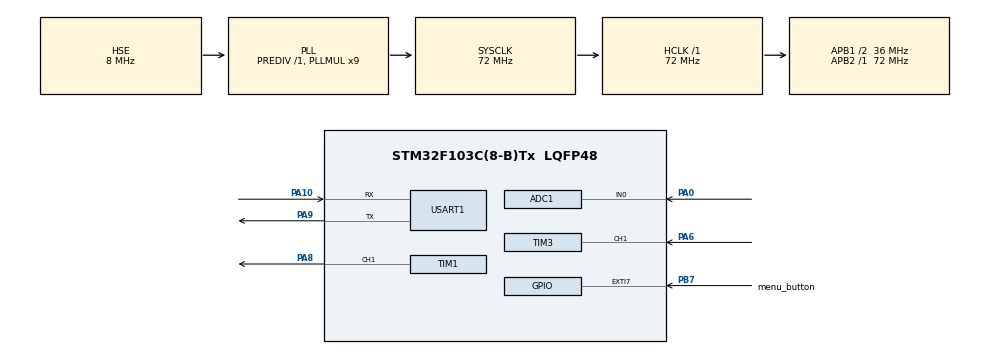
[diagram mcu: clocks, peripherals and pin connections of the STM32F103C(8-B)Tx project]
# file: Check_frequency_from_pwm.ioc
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ADC1.Channel-0\#ChannelRegularConversion=ADC_CHANNEL_0
ADC1.ContinuousConvMode=ENABLE
ADC1.NbrOfConversionFlag=1
ADC1.Rank-0\#ChannelRegularConversion=1
ADC1.SamplingTime-0\#ChannelRegularConversion=ADC_SAMPLETIME_1CYCLE_5
ADC1.master=1
Dma.ADC1.0.Direction=DMA_PERIPH_TO_MEMORY
Dma.ADC1.0.Instance=DMA1_Channel1
Dma.ADC1.0.MemDataAlignment=DMA_MDATAALIGN_HALFWORD
Dma.ADC1.0.MemInc=DMA_MINC_ENABLE
Dma.ADC1.0.Mode=DMA_CIRCULAR
Dma.ADC1.0.PeriphDataAlignment=DMA_PDATAALIGN_HALFWORD
Dma.ADC1.0.PeriphInc=DMA_PINC_DISABLE
Dma.ADC1.0.Priority=DMA_PRIORITY_LOW
Dma.Request0=ADC1
Dma.Request1=TIM1_CH1
Dma.TIM1_CH1.1.Direction=DMA_MEMORY_TO_PERIPH
Dma.TIM1_CH1.1.Instance=DMA1_Channel2
Dma.TIM1_CH1.1.MemDataAlignment=DMA_MDATAALIGN_HALFWORD
Dma.TIM1_CH1.1.MemInc=DMA_MINC_ENABLE
Dma.TIM1_CH1.1.Mode=DMA_CIRCULAR
Dma.TIM1_CH1.1.PeriphDataAlignment=DMA_PDATAALIGN_HALFWORD
Dma.TIM1_CH1.1.PeriphInc=DMA_PINC_DISABLE
Dma.TIM1_CH1.1.Priority=DMA_PRIORITY_LOW
FREERTOS.Tasks01=defaultTask,0,256,StartDefaultTask,Default,NULL,Static,defaultTaskBuffer,defaultTaskControlBlock;my_PWM_Task,0,256,Start_PWM_Task,Default,NULL,Static,my_PWM_TaskBuffer,my_PWM_TaskControlBlock;my_ADC_Task,0,256,Start_ADC_Task,Default,NULL,Static,my_ADC_TaskBuffer,my_ADC_TaskControlBlock
FREERTOS.configUSE_NEWLIB_REENTRANT=1
Mcu.Family=STM32F1
Mcu.Name=STM32F103C(8-B)Tx
Mcu.Package=LQFP48
NVIC.DMA1_Channel1_IRQn=true\:5\:0\:false\:false\:true\:true\:false\:true\:true
NVIC.DMA1_Channel2_IRQn=true\:5\:0\:false\:false\:true\:true\:false\:true\:true
NVIC.EXTI9_5_IRQn=true\:5\:0\:false\:false\:true\:true\:true\:true\:true
NVIC.PriorityGroup=NVIC_PRIORITYGROUP_4
NVIC.TIM3_IRQn=true\:5\:0\:false\:false\:true\:true\:true\:true\:true
NVIC.TIM4_IRQn=true\:15\:0\:false\:false\:true\:false\:false\:true\:true
NVIC.TimeBase=TIM4_IRQn
NVIC.TimeBaseIP=TIM4
PA0-WKUP.Signal=ADCx_IN0
PA10.Mode=Asynchronous
PA10.Signal=USART1_RX
PA13.Mode=Serial_Wire
PA13.Signal=SYS_JTMS-SWDIO
PA14.Mode=Serial_Wire
PA14.Signal=SYS_JTCK-SWCLK
PA6.Signal=S_TIM3_CH1
PA8.Signal=S_TIM1_CH1
PA9.Mode=Asynchronous
PA9.Signal=USART1_TX
PB7.GPIO_Label=menu_button
PB7.GPIO_ModeDefaultEXTI=GPIO_MODE_IT_FALLING
PB7.GPIO_PuPd=GPIO_PULLUP
PB7.Signal=GPXTI7
PD0-OSC_IN.Mode=HSE-External-Oscillator
PD0-OSC_IN.Signal=RCC_OSC_IN
PD1-OSC_OUT.Mode=HSE-External-Oscillator
PD1-OSC_OUT.Signal=RCC_OSC_OUT
ProjectManager.HeapSize=0x200
ProjectManager.StackSize=0x400
ProjectManager.TargetToolchain=STM32CubeIDE
RCC.ADCPresc=RCC_ADCPCLK2_DIV6
RCC.AHBFreq_Value=72000000
RCC.APB1CLKDivider=RCC_HCLK_DIV2
RCC.APB1Freq_Value=36000000
RCC.APB1TimFreq_Value=72000000
RCC.APB2Freq_Value=72000000
RCC.APB2TimFreq_Value=72000000
RCC.HCLKFreq_Value=72000000
RCC.PLLMUL=RCC_PLL_MUL9
RCC.PLLSourceVirtual=RCC_PLLSOURCE_HSE
RCC.SYSCLKFreq_VALUE=72000000
RCC.SYSCLKSource=RCC_SYSCLKSOURCE_PLLCLK
RCC.USBFreq_Value=72000000
SH.ADCx_IN0.0=ADC1_IN0,IN0
SH.S_TIM1_CH1.0=TIM1_CH1,PWM Generation1 CH1
SH.S_TIM3_CH1.0=TIM3_CH1,Input_Capture1_from_TI1
TIM1.Channel-PWM\ Generation1\ CH1=TIM_CHANNEL_1
TIM1.Period=100-1
TIM1.Prescaler=71-1
TIM3.Channel-Input_Capture1_from_TI1=TIM_CHANNEL_1
TIM3.Prescaler=7199
TIM3.TIM_MasterOutputTrigger=TIM_TRGO_UPDATE
USART1.VirtualMode=VM_ASYNC
VP_FREERTOS_VS_CMSIS_V1.Mode=CMSIS_V1
VP_SYS_VS_tim4.Mode=TIM4
VP_TIM1_VS_ClockSourceINT.Mode=Internal
VP_TIM2_VS_ClockSourceITR.Mode=TriggerSource_ITR2
VP_TIM2_VS_ControllerModeClock.Mode=Clock Mode
board=custom

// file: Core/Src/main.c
/* USER CODE BEGIN Header */
/**
 ******************************************************************************
 * @file           : main.c
 * @brief          : Main program body
 ******************************************************************************
 * @attention
 *
 * Copyright (c) 2023 STMicroelectronics.
 * All rights reserved.
 *
 * This software is licensed under terms that can be found in the LICENSE file
 * in the root directory of this software component.
 * If no LICENSE file comes with this software, it is provided AS-IS.
 *
 ******************************************************************************
 */
/* USER CODE END Header */
#include "main.h"
#include "cmsis_os.h"

/* USER CODE BEGIN Includes */
#include <stdio.h>/* для printf */
#include <string.h>
/************** PWM *******************/
uint16_t pwmData[1];
/************** ADC *******************/
#define ADC_BUF_LED 100 //4096
uint16_t adc_buf[ADC_BUF_LED];

/************** Tahometr *******************/
volatile uint8_t count = 0;
/* USER CODE END Includes */

ADC_HandleTypeDef hadc1;
DMA_HandleTypeDef hdma_adc1;

TIM_HandleTypeDef htim1;
TIM_HandleTypeDef htim2;
TIM_HandleTypeDef htim3;
DMA_HandleTypeDef hdma_tim1_ch1;

UART_HandleTypeDef huart1;

osThreadId defaultTaskHandle;
uint32_t defaultTaskBuffer[ 256 ];
osStaticThreadDef_t defaultTaskControlBlock;
osThreadId my_PWM_TaskHandle;
uint32_t my_PWM_TaskBuffer[ 256 ];
osStaticThreadDef_t my_PWM_TaskControlBlock;
osThreadId my_ADC_TaskHandle;
uint32_t my_ADC_TaskBuffer[ 256 ];
osStaticThreadDef_t my_ADC_TaskControlBlock;

void SystemClock_Config(void);
static void MX_GPIO_Init(void);
static void MX_DMA_Init(void);
static void MX_ADC1_Init(void);
static void MX_TIM1_Init(void);
static void MX_TIM2_Init(void);
static void MX_TIM3_Init(void);
static void MX_USART1_UART_Init(void);
void StartDefaultTask(void const * argument);
void Start_PWM_Task(void const * argument);
void Start_ADC_Task(void const * argument);

/* USER CODE BEGIN PFP */
int _write(int file, char *ptr, int len) {
	int i;
	HAL_UART_Transmit(&huart1, (uint8_t*) ptr, len, 50);
	for (i = 0; i < len; i++) {
		ITM_SendChar(*ptr++);
	}
	return len;
}
/* USER CODE END PFP */

/* USER CODE BEGIN 0 */
/************** Медианный фильтр *******************/
float median(float newVal) {
	static float buf[3];
	static int count = 0;
	buf[count] = newVal;
	if (++count > 2)
		count = 0;

	float a = buf[0];
	float b = buf[1];
	float c = buf[2];

	float middle;
	if ((a <= b) && (a <= c)) {
		middle = (b <= c) ? b : c;
	} else {
		if ((b <= a) && (b <= c)) {
			middle = (a <= c) ? a : c;
		} else {
			middle = (a <= b) ? a : b;
		}
	}
	return middle;
}

void HAL_TIM_IC_CaptureCallback(TIM_HandleTypeDef *htim) {
	if (htim == &htim3) {
		if (htim->Channel == HAL_TIM_ACTIVE_CHANNEL_1) {
			count++;

			if (count == 1) {
				__HAL_TIM_SET_COUNTER(&htim3, 0x0000);
				__HAL_TIM_SET_COUNTER(&htim2, 0x0000);
			}

			else if (count == 2) {
				HAL_TIM_IC_Stop_IT(&htim3, TIM_CHANNEL_1);

				count = 0;

				uint16_t count_main = HAL_TIM_ReadCapturedValue(&htim3,
						TIM_CHANNEL_1);
				uint16_t count_secondary = __HAL_TIM_GET_COUNTER(&htim2);
				uint16_t arr = __HAL_TIM_GET_AUTORELOAD(&htim2);
				uint32_t res = count_main + (count_secondary * arr)
						+ count_secondary;

				float freq = 1 / (res / 1000000.0);

				char str[96] = { 0, };
				//snprintf(str, 96, "Capture Freq: %.3f Hz | res: %lu | cm: %d | cs: %d\n", (float)freq, res, count_main, count_secondary);
				freq = median(freq);

				snprintf(str, 96, "Capture Freq: %.3f Hz\n", (float) freq);
				HAL_UART_Transmit(&huart1, (uint8_t*) str, strlen(str), 1000);

				HAL_TIM_IC_Start_IT(&htim3, TIM_CHANNEL_1);
			}
		}
	}
}
/************** Button *******************/
MenuButton_t hMenuButton;
/* USER CODE END 0 */

int main(void)
{
  /* USER CODE BEGIN 1 */
	/************** Button *******************/
	hMenuButton.buttonFlag.data = RESET; //Flag reset
  /* USER CODE END 1 */

  /* MCU Configuration--------------------------------------------------------*/

  /* Reset of all peripherals, Initializes the Flash interface and the Systick. */
  HAL_Init();

  /* Configure the system clock */
  SystemClock_Config();

  /* Initialize all configured peripherals */
  MX_GPIO_Init();
  MX_DMA_Init();
  MX_ADC1_Init();
  MX_TIM1_Init();
  MX_TIM2_Init();
  MX_TIM3_Init();
  MX_USART1_UART_Init();

  /* Create the thread(s) */
  /* definition and creation of defaultTask */
  osThreadStaticDef(defaultTask, StartDefaultTask, osPriorityNormal, 0, 256, defaultTaskBuffer, &defaultTaskControlBlock);
  defaultTaskHandle = osThreadCreate(osThread(defaultTask), NULL);

  /* definition and creation of my_PWM_Task */
  osThreadStaticDef(my_PWM_Task, Start_PWM_Task, osPriorityNormal, 0, 256, my_PWM_TaskBuffer, &my_PWM_TaskControlBlock);
  my_PWM_TaskHandle = osThreadCreate(osThread(my_PWM_Task), NULL);

  /* definition and creation of my_ADC_Task */
  osThreadStaticDef(my_ADC_Task, Start_ADC_Task, osPriorityNormal, 0, 256, my_ADC_TaskBuffer, &my_ADC_TaskControlBlock);
  my_ADC_TaskHandle = osThreadCreate(osThread(my_ADC_Task), NULL);

  /* USER CODE BEGIN RTOS_THREADS */
	/* add threads, ... */
	printf("Hello world! \r\n");
  /* USER CODE END RTOS_THREADS */

  /* Start scheduler */
  osKernelStart();
  /* We should never get here as control is now taken by the scheduler */
  /* Infinite loop */
	while (1) {

	}
}

void SystemClock_Config(void)
{
  RCC_OscInitTypeDef RCC_OscInitStruct = {0};
  RCC_ClkInitTypeDef RCC_ClkInitStruct = {0};
  RCC_PeriphCLKInitTypeDef PeriphClkInit = {0};

  /** Initializes the RCC Oscillators according to the specified parameters
  * in the RCC_OscInitTypeDef structure.
  */
  RCC_OscInitStruct.OscillatorType = RCC_OSCILLATORTYPE_HSE;
  RCC_OscInitStruct.HSEState = RCC_HSE_ON;
  RCC_OscInitStruct.HSEPredivValue = RCC_HSE_PREDIV_DIV1;
  RCC_OscInitStruct.HSIState = RCC_HSI_ON;
  RCC_OscInitStruct.PLL.PLLState = RCC_PLL_ON;
  RCC_OscInitStruct.PLL.PLLSource = RCC_PLLSOURCE_HSE;
  RCC_OscInitStruct.PLL.PLLMUL = RCC_PLL_MUL9;
  if (HAL_RCC_OscConfig(&RCC_OscInitStruct) != HAL_OK)
  {
    Error_Handler();
  }

  /** Initializes the CPU, AHB and APB buses clocks
  */
  RCC_ClkInitStruct.ClockType = RCC_CLOCKTYPE_HCLK|RCC_CLOCKTYPE_SYSCLK
                              |RCC_CLOCKTYPE_PCLK1|RCC_CLOCKTYPE_PCLK2;
  RCC_ClkInitStruct.SYSCLKSource = RCC_SYSCLKSOURCE_PLLCLK;
  RCC_ClkInitStruct.AHBCLKDivider = RCC_SYSCLK_DIV1;
  RCC_ClkInitStruct.APB1CLKDivider = RCC_HCLK_DIV2;
  RCC_ClkInitStruct.APB2CLKDivider = RCC_HCLK_DIV1;

  if (HAL_RCC_ClockConfig(&RCC_ClkInitStruct, FLASH_LATENCY_2) != HAL_OK)
  {
    Error_Handler();
  }
  PeriphClkInit.PeriphClockSelection = RCC_PERIPHCLK_ADC;
  PeriphClkInit.AdcClockSelection = RCC_ADCPCLK2_DIV6;
  if (HAL_RCCEx_PeriphCLKConfig(&PeriphClkInit) != HAL_OK)
  {
    Error_Handler();
  }
}

static void MX_ADC1_Init(void)
{

  ADC_ChannelConfTypeDef sConfig = {0};

  /** Common config
  */
  hadc1.Instance = ADC1;
  hadc1.Init.ScanConvMode = ADC_SCAN_DISABLE;
  hadc1.Init.ContinuousConvMode = ENABLE;
  hadc1.Init.DiscontinuousConvMode = DISABLE;
  hadc1.Init.ExternalTrigConv = ADC_SOFTWARE_START;
  hadc1.Init.DataAlign = ADC_DATAALIGN_RIGHT;
  hadc1.Init.NbrOfConversion = 1;
  if (HAL_ADC_Init(&hadc1) != HAL_OK)
  {
    Error_Handler();
  }

  /** Configure Regular Channel
  */
  sConfig.Channel = ADC_CHANNEL_0;
  sConfig.Rank = ADC_REGULAR_RANK_1;
  sConfig.SamplingTime = ADC_SAMPLETIME_1CYCLE_5;
  if (HAL_ADC_ConfigChannel(&hadc1, &sConfig) != HAL_OK)
  {
    Error_Handler();
  }

}

static void MX_TIM1_Init(void)
{

  TIM_ClockConfigTypeDef sClockSourceConfig = {0};
  TIM_MasterConfigTypeDef sMasterConfig = {0};
  TIM_OC_InitTypeDef sConfigOC = {0};
  TIM_BreakDeadTimeConfigTypeDef sBreakDeadTimeConfig = {0};

  htim1.Instance = TIM1;
  htim1.Init.Prescaler = 71-1;
  htim1.Init.CounterMode = TIM_COUNTERMODE_UP;
  htim1.Init.Period = 100-1;
  htim1.Init.ClockDivision = TIM_CLOCKDIVISION_DIV1;
  htim1.Init.RepetitionCounter = 0;
  htim1.Init.AutoReloadPreload = TIM_AUTORELOAD_PRELOAD_DISABLE;
  if (HAL_TIM_Base_Init(&htim1) != HAL_OK)
  {
    Error_Handler();
  }
  sClockSourceConfig.ClockSource = TIM_CLOCKSOURCE_INTERNAL;
  if (HAL_TIM_ConfigClockSource(&htim1, &sClockSourceConfig) != HAL_OK)
  {
    Error_Handler();
  }
  if (HAL_TIM_PWM_Init(&htim1) != HAL_OK)
  {
    Error_Handler();
  }
  sMasterConfig.MasterOutputTrigger = TIM_TRGO_RESET;
  sMasterConfig.MasterSlaveMode = TIM_MASTERSLAVEMODE_DISABLE;
  if (HAL_TIMEx_MasterConfigSynchronization(&htim1, &sMasterConfig) != HAL_OK)
  {
    Error_Handler();
  }
  sConfigOC.OCMode = TIM_OCMODE_PWM1;
  sConfigOC.Pulse = 0;
  sConfigOC.OCPolarity = TIM_OCPOLARITY_HIGH;
  sConfigOC.OCNPolarity = TIM_OCNPOLARITY_HIGH;
  sConfigOC.OCFastMode = TIM_OCFAST_DISABLE;
  sConfigOC.OCIdleState = TIM_OCIDLESTATE_RESET;
  sConfigOC.OCNIdleState = TIM_OCNIDLESTATE_RESET;
  if (HAL_TIM_PWM_ConfigChannel(&htim1, &sConfigOC, TIM_CHANNEL_1) != HAL_OK)
  {
    Error_Handler();
  }
  sBreakDeadTimeConfig.OffStateRunMode = TIM_OSSR_DISABLE;
  sBreakDeadTimeConfig.OffStateIDLEMode = TIM_OSSI_DISABLE;
  sBreakDeadTimeConfig.LockLevel = TIM_LOCKLEVEL_OFF;
  sBreakDeadTimeConfig.DeadTime = 0;
  sBreakDeadTimeConfig.BreakState = TIM_BREAK_DISABLE;
  sBreakDeadTimeConfig.BreakPolarity = TIM_BREAKPOLARITY_HIGH;
  sBreakDeadTimeConfig.AutomaticOutput = TIM_AUTOMATICOUTPUT_DISABLE;
  if (HAL_TIMEx_ConfigBreakDeadTime(&htim1, &sBreakDeadTimeConfig) != HAL_OK)
  {
    Error_Handler();
  }
  HAL_TIM_MspPostInit(&htim1);

}

static void MX_TIM2_Init(void)
{

  TIM_SlaveConfigTypeDef sSlaveConfig = {0};
  TIM_MasterConfigTypeDef sMasterConfig = {0};

  htim2.Instance = TIM2;
  htim2.Init.Prescaler = 0;
  htim2.Init.CounterMode = TIM_COUNTERMODE_UP;
  htim2.Init.Period = 65535;
  htim2.Init.ClockDivision = TIM_CLOCKDIVISION_DIV1;
  htim2.Init.AutoReloadPreload = TIM_AUTORELOAD_PRELOAD_DISABLE;
  if (HAL_TIM_Base_Init(&htim2) != HAL_OK)
  {
    Error_Handler();
  }
  sSlaveConfig.SlaveMode = TIM_SLAVEMODE_EXTERNAL1;
  sSlaveConfig.InputTrigger = TIM_TS_ITR2;
  if (HAL_TIM_SlaveConfigSynchro(&htim2, &sSlaveConfig) != HAL_OK)
  {
    Error_Handler();
  }
  sMasterConfig.MasterOutputTrigger = TIM_TRGO_RESET;
  sMasterConfig.MasterSlaveMode = TIM_MASTERSLAVEMODE_DISABLE;
  if (HAL_TIMEx_MasterConfigSynchronization(&htim2, &sMasterConfig) != HAL_OK)
  {
    Error_Handler();
  }

}

static void MX_TIM3_Init(void)
{

  TIM_MasterConfigTypeDef sMasterConfig = {0};
  TIM_IC_InitTypeDef sConfigIC = {0};

  htim3.Instance = TIM3;
  htim3.Init.Prescaler = 7199;
  htim3.Init.CounterMode = TIM_COUNTERMODE_UP;
  htim3.Init.Period = 65535;
  htim3.Init.ClockDivision = TIM_CLOCKDIVISION_DIV1;
  htim3.Init.AutoReloadPreload = TIM_AUTORELOAD_PRELOAD_DISABLE;
  if (HAL_TIM_IC_Init(&htim3) != HAL_OK)
  {
    Error_Handler();
  }
  sMasterConfig.MasterOutputTrigger = TIM_TRGO_UPDATE;
  sMasterConfig.MasterSlaveMode = TIM_MASTERSLAVEMODE_DISABLE;
  if (HAL_TIMEx_MasterConfigSynchronization(&htim3, &sMasterConfig) != HAL_OK)
  {
    Error_Handler();
  }
  sConfigIC.ICPolarity = TIM_INPUTCHANNELPOLARITY_RISING;
  sConfigIC.ICSelection = TIM_ICSELECTION_DIRECTTI;
  sConfigIC.ICPrescaler = TIM_ICPSC_DIV1;
  sConfigIC.ICFilter = 0;
  if (HAL_TIM_IC_ConfigChannel(&htim3, &sConfigIC, TIM_CHANNEL_1) != HAL_OK)
  {
    Error_Handler();
  }

}

static void MX_USART1_UART_Init(void)
{

  huart1.Instance = USART1;
  huart1.Init.BaudRate = 115200;
  huart1.Init.WordLength = UART_WORDLENGTH_8B;
  huart1.Init.StopBits = UART_STOPBITS_1;
  huart1.Init.Parity = UART_PARITY_NONE;
  huart1.Init.Mode = UART_MODE_TX_RX;
  huart1.Init.HwFlowCtl = UART_HWCONTROL_NONE;
  huart1.Init.OverSampling = UART_OVERSAMPLING_16;
  if (HAL_UART_Init(&huart1) != HAL_OK)
  {
    Error_Handler();
  }

}

static void MX_DMA_Init(void)
{

  /* DMA controller clock enable */
  __HAL_RCC_DMA1_CLK_ENABLE();

  /* DMA interrupt init */
  /* DMA1_Channel1_IRQn interrupt configuration */
  HAL_NVIC_SetPriority(DMA1_Channel1_IRQn, 5, 0);
  HAL_NVIC_EnableIRQ(DMA1_Channel1_IRQn);
  /* DMA1_Channel2_IRQn interrupt configuration */
  HAL_NVIC_SetPriority(DMA1_Channel2_IRQn, 5, 0);
  HAL_NVIC_EnableIRQ(DMA1_Channel2_IRQn);

}

static void MX_GPIO_Init(void)
{
  GPIO_InitTypeDef GPIO_InitStruct = {0};

  /* GPIO Ports Clock Enable */
  __HAL_RCC_GPIOD_CLK_ENABLE();
  __HAL_RCC_GPIOA_CLK_ENABLE();
  __HAL_RCC_GPIOB_CLK_ENABLE();

  /*Configure GPIO pin : menu_button_Pin */
  GPIO_InitStruct.Pin = menu_button_Pin;
  GPIO_InitStruct.Mode = GPIO_MODE_IT_FALLING;
  GPIO_InitStruct.Pull = GPIO_PULLUP;
  HAL_GPIO_Init(menu_button_GPIO_Port, &GPIO_InitStruct);

  /* EXTI interrupt init*/
  HAL_NVIC_SetPriority(EXTI9_5_IRQn, 5, 0);
  HAL_NVIC_EnableIRQ(EXTI9_5_IRQn);

}

/* USER CODE BEGIN 4 */
uint8_t MenuButton_Debounce(void) //Menu Button debounce function
{
	uint8_t ret = DISABLE;
	static uint16_t Level = Restart_Level;
	if (!HAL_GPIO_ReadPin(menu_button_GPIO_Port, menu_button_Pin)) {
		++Level;
	} else {
		--Level;
		if (Level <= Restart_Level) {
			Level = Restart_Level;
		}
	}
	if (Level >= 4000) {
		Level = Acceptance_Level;
		ret = ENABLE;
	}
	return ret;
}

void setTimer(uint32_t *timer) {
	*timer = HAL_GetTick();
}
uint8_t checkTimer(uint32_t *timer, uint32_t msTime) {
	uint8_t ret = RESET;
	ret = ((HAL_GetTick() - *timer) > msTime) ? ENABLE : DISABLE;
	return ret;
}
/* USER CODE END 4 */

void StartDefaultTask(void const * argument)
{
  /* USER CODE BEGIN 5 */
	HAL_TIM_IC_Start_IT(&htim3, TIM_CHANNEL_1);
	/* Infinite loop */
	for (;;) {
		if (hMenuButton.buttonFlag.bit.B0) {
			if (MenuButton_Debounce())//Apply de-bounce algorithm before taking any action
			{
				hMenuButton.buttonFlag.bit.B0 = RESET;	//Reset interrupt flag

				if (hMenuButton.buttonTimerEnable != SET)//Start timer when the menu button gets pressed for the first time
						{
					hMenuButton.buttonTimerEnable = SET;//Enable software timer
					hMenuButton.buttonStatus = MenuButtonStatus_oneClick;//The menu button has been pressed for one time
					setTimer(&hMenuButton.buttonTimer);	//Start software timer
				} else {
					hMenuButton.buttonStatus = MenuButtonStatus_doubleClick;//If the timer is already started this means that the button is pressed for the second time
				}
			}
		}
		if ((checkTimer(&hMenuButton.buttonTimer,
				5 * hMenuButton.buttonHeldPressedCounter))
				&& (hMenuButton.buttonStatus == MenuButtonStatus_oneClick)) {//If the menu button has been pressed, take logic sample every 10 ms from the button read pin
			if (!HAL_GPIO_ReadPin(menu_button_GPIO_Port, menu_button_Pin))//To check if the button is still pressed
					{
				++hMenuButton.buttonHeldPressedCounter;	//Increment samples number
			}
			hMenuButton.buttonStatus =
					(hMenuButton.buttonHeldPressedCounter >= 65) ?
							MenuButtonStatus_heldPressed :
							hMenuButton.buttonStatus;
		}					//If the button is held pressed change button status
		if ((checkTimer(&hMenuButton.buttonTimer, 350))
				&& hMenuButton.buttonTimerEnable) {	//Take decision after 300 ms whether one click, double click or held pressed event has occured
			switch (hMenuButton.buttonStatus) {
			case MenuButtonStatus_oneClick:
				printf("oneClick \r\n");
				pwmData[0] += 1; // Уменьшаем значение pwmData[0] на -1
				break;
			case MenuButtonStatus_doubleClick:
				printf("doubleClick \r\n");
				if (pwmData[0] >= 100) {
					pwmData[0] = 100;
				} else {
					pwmData[0] += 100; // Увеличиваем значение pwmData[0] на +3
					if (pwmData[0] >= 100) {
						pwmData[0] = 100;
					}
				}
				break;
			case MenuButtonStatus_heldPressed:
				printf("heldPressed & pwmData[0] = 0\r\n");
				pwmData[0] = 0;
				break;
			case MenuButtonStatus_notPressed:
				break;

			}
			hMenuButton.buttonTimerEnable = RESET;		//Disable software timer
			hMenuButton.buttonHeldPressedCounter = RESET;		//Reset counter
			hMenuButton.buttonStatus = MenuButtonStatus_notPressed;
			//button status is set to no press to avoid misbehavior of the button functionality
		}
//    osDelay(1);
	}
  /* USER CODE END 5 */
}

void Start_PWM_Task(void const * argument)
{
  /* USER CODE BEGIN Start_PWM_Task */
	/************** PWM *******************/
	//	  pwmData[0] = 70;
	//	  pwmData[1] = 20;
	//	  pwmData[2] = 30;
	//	  pwmData[3] = 40;
	//	  pwmData[4] = 50;
	//	  pwmData[5] = 60;
	//	  pwmData[6] = 70;
	//	  pwmData[7] = 80;
	//	  pwmData[8] = 90;
	//	  pwmData[9] = 100;
	//	  HAL_TIM_PWM_Stop_DMA(&htim1, TIM_CHANNEL_1);
	/************** Map *******************/
//	      int16_t value = 0; // For function "map" from analogRead(0);
//	      int16_t in_max = 4050; // было 4095
//		    int8_t in_min = 0;  // было 0
//		    unsigned char out_max = 100;
//		    int8_t out_min = 0;
	/* Infinite loop */
	for (;;) {
//	    value = (adc_buf[0] - in_min) * (out_max - out_min) / (in_max - in_min) + out_min; // Function map
//	    pwmData[0] = value;
//	    pwmData[0] = value;
		HAL_TIM_PWM_Start_DMA(&htim1, TIM_CHANNEL_1, (uint32_t*) pwmData, 1);
		printf("pwmData[0] = %d\r\n", pwmData[0]);
		osDelay(1000);
	}
  /* USER CODE END Start_PWM_Task */
}

void Start_ADC_Task(void const * argument)
{
  /* USER CODE BEGIN Start_ADC_Task */
	HAL_ADC_Start_DMA(&hadc1, (uint32_t*) adc_buf, ADC_BUF_LED);
	/* Infinite loop */
	for (;;) {
//	  printf("adc_buf = %u\r\n",(unsigned int)adc_buf[0]);
		osDelay(1000);
	}
  /* USER CODE END Start_ADC_Task */
}

void HAL_TIM_PeriodElapsedCallback(TIM_HandleTypeDef *htim)
{
  if (htim->Instance == TIM4) {
    HAL_IncTick();
  }
}

void Error_Handler(void)
{
	__disable_irq();
	while (1) {
	}
}
